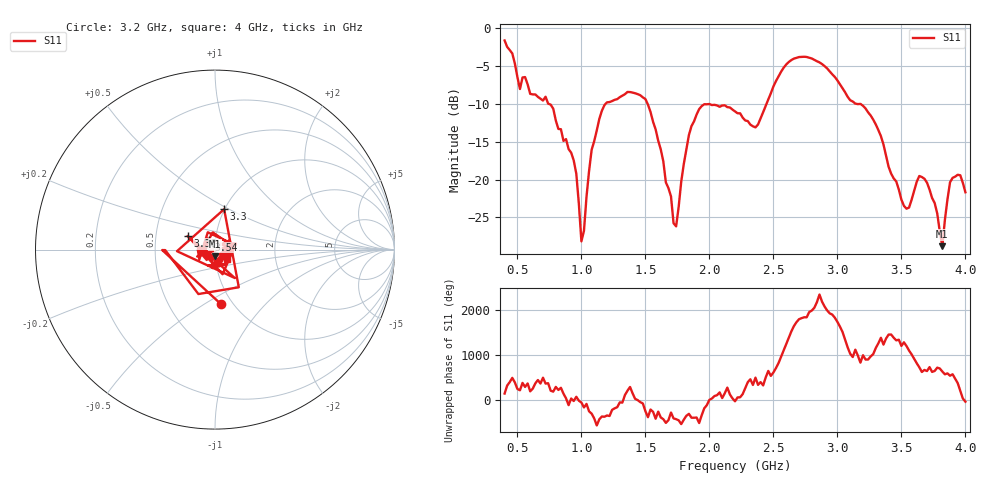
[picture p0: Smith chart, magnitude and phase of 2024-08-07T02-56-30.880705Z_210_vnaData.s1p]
!Created with skrf (http://scikit-rf.org).
# Hz S RI R 50.0
!freq ReS11 ImS11
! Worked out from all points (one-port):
!   181 points, 400 MHz to 4 GHz, reference 50 ohm
!   lowest |S11| = -28.8 dB at 3.82 GHz (marker M1), VSWR 1.08, Z = 50 - j3.64 ohm
!   |S11| at or under -10 dB: 741.9 MHz to 1.19 GHz (448 MHz wide, 46.4 % of centre); 1.517 GHz to 2.447 GHz (929.7 MHz wide, 46.9 % of centre); 3.145 GHz to end of sweep
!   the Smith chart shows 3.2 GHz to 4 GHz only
!   S11 on the Smith chart (normalised r, x): 3.2 GHz: 0.88, -0.59; 3.3 GHz: 0.99, +0.47; 3.36 GHz: 0.73, +0.11; 3.54 GHz: 0.93, +0.10; 4 GHz: 1.13, -0.12
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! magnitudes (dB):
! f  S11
! 400 MHz  -1.7
! 520 MHz  -8.1
! 720 MHz  -9.1
! 860 MHz  -14.9
! 960 MHz  -19.2
! 1 GHz  -28.1
! 1.08 GHz  -16.1
! 1.14 GHz  -12.0
! 1.3 GHz  -9.1
! 1.5 GHz  -9.4
! 1.62 GHz  -16.0
! 1.72 GHz  -25.8
! 1.76 GHz  -23.6
! 1.84 GHz  -14.1
! 1.92 GHz  -10.7
! 2.2 GHz  -11.0
! 2.36 GHz  -13.1
! 2.66 GHz  -4.1
! 3.1 GHz  -9.5
! 3.2 GHz  -10.3
! 3.3 GHz  -12.7
! 3.36 GHz  -15.4
! 3.54 GHz  -23.8
! 3.56 GHz  -23.7
! 3.68 GHz  -19.9
! 3.82 GHz  -28.8
! 3.88 GHz  -20.4
! 4 GHz  -21.7
